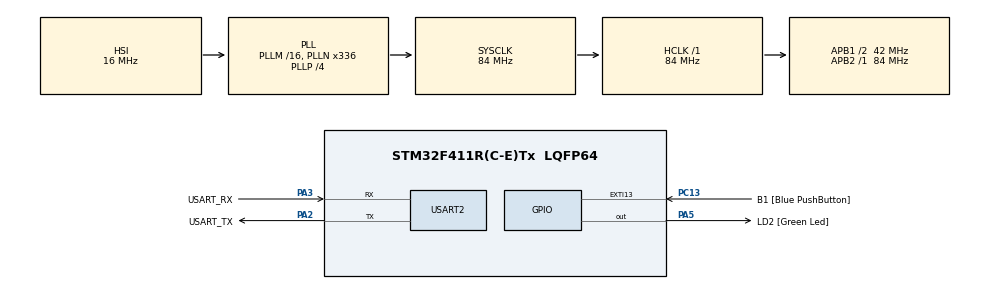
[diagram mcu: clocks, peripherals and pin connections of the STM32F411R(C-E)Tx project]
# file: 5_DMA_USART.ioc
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Dma.Request0=USART2_RX
Dma.USART2_RX.0.Direction=DMA_PERIPH_TO_MEMORY
Dma.USART2_RX.0.FIFOMode=DMA_FIFOMODE_DISABLE
Dma.USART2_RX.0.Instance=DMA1_Stream5
Dma.USART2_RX.0.MemDataAlignment=DMA_MDATAALIGN_BYTE
Dma.USART2_RX.0.MemInc=DMA_MINC_ENABLE
Dma.USART2_RX.0.Mode=DMA_CIRCULAR
Dma.USART2_RX.0.PeriphDataAlignment=DMA_PDATAALIGN_BYTE
Dma.USART2_RX.0.PeriphInc=DMA_PINC_DISABLE
Dma.USART2_RX.0.Priority=DMA_PRIORITY_LOW
Mcu.Family=STM32F4
Mcu.Name=STM32F411R(C-E)Tx
Mcu.Package=LQFP64
NVIC.DMA1_Stream5_IRQn=true\:0\:0\:false\:false\:true\:false\:true\:true
NVIC.PriorityGroup=NVIC_PRIORITYGROUP_0
NVIC.USART2_IRQn=true\:0\:0\:false\:false\:true\:true\:true\:true
PA13.GPIO_Label=TMS
PA13.Mode=Serial_Wire
PA13.Signal=SYS_JTMS-SWDIO
PA14.GPIO_Label=TCK
PA14.Mode=Serial_Wire
PA14.Signal=SYS_JTCK-SWCLK
PA2.GPIO_Label=USART_TX
PA2.Mode=Asynchronous
PA2.Signal=USART2_TX
PA3.GPIO_Label=USART_RX
PA3.Mode=Asynchronous
PA3.Signal=USART2_RX
PA5.GPIO_Label=LD2 [Green Led]
PA5.Signal=GPIO_Output
PB3.GPIO_Label=SWO
PB3.Signal=SYS_JTDO-SWO
PC13-ANTI_TAMP.GPIO_Label=B1 [Blue PushButton]
PC13-ANTI_TAMP.GPIO_ModeDefaultEXTI=GPIO_MODE_IT_FALLING
PC13-ANTI_TAMP.Signal=GPXTI13
PC14-OSC32_IN.Mode=LSE-External-Oscillator
PC14-OSC32_IN.Signal=RCC_OSC32_IN
PC15-OSC32_OUT.Mode=LSE-External-Oscillator
PC15-OSC32_OUT.Signal=RCC_OSC32_OUT
PH0\ -\ OSC_IN.Mode=HSE-External-Clock-Source
PH0\ -\ OSC_IN.Signal=RCC_OSC_IN
PH1\ -\ OSC_OUT.Mode=HSE-External-Clock-Source
PH1\ -\ OSC_OUT.Signal=RCC_OSC_OUT
ProjectManager.HeapSize=0x200
ProjectManager.StackSize=0x400
ProjectManager.TargetToolchain=STM32CubeIDE
RCC.48MHZClocksFreq_Value=84000000
RCC.AHBFreq_Value=84000000
RCC.APB1CLKDivider=RCC_HCLK_DIV2
RCC.APB1Freq_Value=42000000
RCC.APB1TimFreq_Value=84000000
RCC.APB2Freq_Value=84000000
RCC.APB2TimFreq_Value=84000000
RCC.CortexFreq_Value=84000000
RCC.FLatency-AdvancedSettings=FLASH_LATENCY_2
RCC.HCLKFreq_Value=84000000
RCC.HSE_VALUE=8000000
RCC.HSI_VALUE=16000000
RCC.PLLN=336
RCC.PLLP=RCC_PLLP_DIV4
RCC.SYSCLKFreq_VALUE=84000000
RCC.SYSCLKSource=RCC_SYSCLKSOURCE_PLLCLK
RCC.VCOOutputFreq_Value=336000000
USART2.VirtualMode=VM_ASYNC
board=NUCLEO-F411RE

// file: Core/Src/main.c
/* USER CODE BEGIN Header */
/**
  ******************************************************************************
  * @file           : main.c
  * @brief          : Main program body
  ******************************************************************************
  * @attention
  *
  * Copyright (c) 2025 STMicroelectronics.
  * All rights reserved.
  *
  * This software is licensed under terms that can be found in the LICENSE file
  * in the root directory of this software component.
  * If no LICENSE file comes with this software, it is provided AS-IS.
  *
  ******************************************************************************
  */
/* USER CODE END Header */
#include "main.h"

/* USER CODE BEGIN Includes */
#include <stdio.h>
#include <string.h>
/* USER CODE END Includes */

UART_HandleTypeDef huart2;
DMA_HandleTypeDef hdma_usart2_rx;

/* USER CODE BEGIN PV */
uint8_t receive_data = 0;
const char* send_msg = "send\r\n";
const char* recv_msg = "recv\r\n";
volatile uint8_t flag_received = 0;
volatile uint32_t last_receive_tick = 0;
/* USER CODE END PV */

void SystemClock_Config(void);
static void MX_GPIO_Init(void);
static void MX_DMA_Init(void);
static void MX_USART2_UART_Init(void);

/* USER CODE BEGIN 0 */
void HAL_UART_RxCpltCallback(UART_HandleTypeDef* huart)
{
    if(huart->Instance == USART2)
    {
        // 수신 플래그 설정
        flag_received = 1;
        last_receive_tick = HAL_GetTick();

        // 다음 바이트 수신을 위해 DMA 재시작
        HAL_UART_Receive_DMA(&huart2, &receive_data, 1);
    }
}
/* USER CODE END 0 */

int main(void)
{

  /* MCU Configuration--------------------------------------------------------*/

  /* Reset of all peripherals, Initializes the Flash interface and the Systick. */
  HAL_Init();

  /* Configure the system clock */
  SystemClock_Config();

  /* Initialize all configured peripherals */
  MX_GPIO_Init();
  MX_DMA_Init();
  MX_USART2_UART_Init();
  /* USER CODE BEGIN 2 */

  // DMA 수신 시작
  HAL_UART_Receive_DMA(&huart2, &receive_data, 1);

  uint32_t last_send_tick = 0;

  /* USER CODE END 2 */

  /* Infinite loop */
  /* USER CODE BEGIN WHILE */
  while (1)
  {
    uint32_t current_tick = HAL_GetTick();

    // 데이터를 받았으면 "recv" 출력
    if(flag_received == 1)
    {
        flag_received = 0;  // 플래그 리셋
        HAL_UART_Transmit(&huart2, (uint8_t*)recv_msg, strlen(recv_msg), 100);
    }

    // 최근 500ms 이내에 수신이 없었고, 1초가 지났으면 "send" 출력
    if((current_tick - last_receive_tick > 500) && (current_tick - last_send_tick >= 1000))
    {
        HAL_UART_Transmit(&huart2, (uint8_t*)send_msg, strlen(send_msg), 100);
        last_send_tick = current_tick;
    }

    // 수신 직후에는 send 타이머 리셋
    if(current_tick - last_receive_tick <= 500)
    {
        last_send_tick = current_tick;
    }

    /* USER CODE END WHILE */

  }
}

void SystemClock_Config(void)
{
  RCC_OscInitTypeDef RCC_OscInitStruct = {0};
  RCC_ClkInitTypeDef RCC_ClkInitStruct = {0};

  /** Configure the main internal regulator output voltage
  */
  __HAL_RCC_PWR_CLK_ENABLE();
  __HAL_PWR_VOLTAGESCALING_CONFIG(PWR_REGULATOR_VOLTAGE_SCALE1);

  /** Initializes the RCC Oscillators according to the specified parameters
  * in the RCC_OscInitTypeDef structure.
  */
  RCC_OscInitStruct.OscillatorType = RCC_OSCILLATORTYPE_HSI;
  RCC_OscInitStruct.HSIState = RCC_HSI_ON;
  RCC_OscInitStruct.HSICalibrationValue = RCC_HSICALIBRATION_DEFAULT;
  RCC_OscInitStruct.PLL.PLLState = RCC_PLL_ON;
  RCC_OscInitStruct.PLL.PLLSource = RCC_PLLSOURCE_HSI;
  RCC_OscInitStruct.PLL.PLLM = 16;
  RCC_OscInitStruct.PLL.PLLN = 336;
  RCC_OscInitStruct.PLL.PLLP = RCC_PLLP_DIV4;
  RCC_OscInitStruct.PLL.PLLQ = 4;
  if (HAL_RCC_OscConfig(&RCC_OscInitStruct) != HAL_OK)
  {
    Error_Handler();
  }

  /** Initializes the CPU, AHB and APB buses clocks
  */
  RCC_ClkInitStruct.ClockType = RCC_CLOCKTYPE_HCLK|RCC_CLOCKTYPE_SYSCLK
                              |RCC_CLOCKTYPE_PCLK1|RCC_CLOCKTYPE_PCLK2;
  RCC_ClkInitStruct.SYSCLKSource = RCC_SYSCLKSOURCE_PLLCLK;
  RCC_ClkInitStruct.AHBCLKDivider = RCC_SYSCLK_DIV1;
  RCC_ClkInitStruct.APB1CLKDivider = RCC_HCLK_DIV2;
  RCC_ClkInitStruct.APB2CLKDivider = RCC_HCLK_DIV1;

  if (HAL_RCC_ClockConfig(&RCC_ClkInitStruct, FLASH_LATENCY_2) != HAL_OK)
  {
    Error_Handler();
  }
}

static void MX_USART2_UART_Init(void)
{

  huart2.Instance = USART2;
  huart2.Init.BaudRate = 115200;
  huart2.Init.WordLength = UART_WORDLENGTH_8B;
  huart2.Init.StopBits = UART_STOPBITS_1;
  huart2.Init.Parity = UART_PARITY_NONE;
  huart2.Init.Mode = UART_MODE_TX_RX;
  huart2.Init.HwFlowCtl = UART_HWCONTROL_NONE;
  huart2.Init.OverSampling = UART_OVERSAMPLING_16;
  if (HAL_UART_Init(&huart2) != HAL_OK)
  {
    Error_Handler();
  }

}

static void MX_DMA_Init(void)
{

  /* DMA controller clock enable */
  __HAL_RCC_DMA1_CLK_ENABLE();

  /* DMA interrupt init */
  /* DMA1_Stream5_IRQn interrupt configuration */
  HAL_NVIC_SetPriority(DMA1_Stream5_IRQn, 0, 0);
  HAL_NVIC_EnableIRQ(DMA1_Stream5_IRQn);

}

static void MX_GPIO_Init(void)
{
  GPIO_InitTypeDef GPIO_InitStruct = {0};

  /* GPIO Ports Clock Enable */
  __HAL_RCC_GPIOC_CLK_ENABLE();
  __HAL_RCC_GPIOH_CLK_ENABLE();
  __HAL_RCC_GPIOA_CLK_ENABLE();
  __HAL_RCC_GPIOB_CLK_ENABLE();

  /*Configure GPIO pin Output Level */
  HAL_GPIO_WritePin(LD2_GPIO_Port, LD2_Pin, GPIO_PIN_RESET);

  /*Configure GPIO pin : B1_Pin */
  GPIO_InitStruct.Pin = B1_Pin;
  GPIO_InitStruct.Mode = GPIO_MODE_IT_FALLING;
  GPIO_InitStruct.Pull = GPIO_NOPULL;
  HAL_GPIO_Init(B1_GPIO_Port, &GPIO_InitStruct);

  /*Configure GPIO pin : LD2_Pin */
  GPIO_InitStruct.Pin = LD2_Pin;
  GPIO_InitStruct.Mode = GPIO_MODE_OUTPUT_PP;
  GPIO_InitStruct.Pull = GPIO_NOPULL;
  GPIO_InitStruct.Speed = GPIO_SPEED_FREQ_LOW;
  HAL_GPIO_Init(LD2_GPIO_Port, &GPIO_InitStruct);

}

void Error_Handler(void)
{
  __disable_irq();
  while (1)
  {
  }
}
